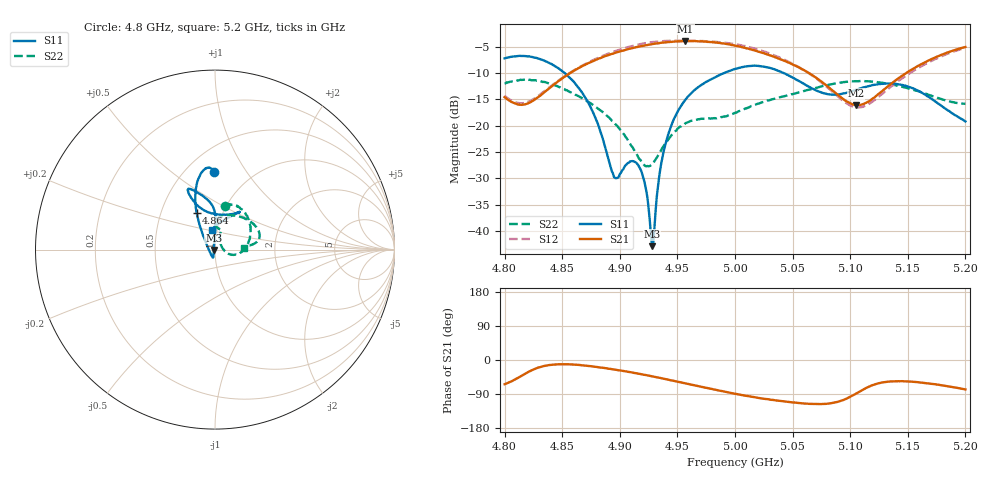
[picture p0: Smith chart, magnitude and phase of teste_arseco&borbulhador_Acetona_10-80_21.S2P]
! Network Analyzer HP8722D
! Hewlett-Packard
! Data name: Linha & Wilkinson
! Saver's name: Rodrigo Anjos
! Comments: Teste da utilização de aquisição
! continua pelo VNA HP8722D
! Time and date: 25/4/2025 15:26
!  Frequency  S11  S21  S12  S22
# HZ  S  MA R 50
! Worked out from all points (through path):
!   401 points, 4.8 GHz to 5.2 GHz, reference 50 ohm
!   highest |S21| = -3.95 dB at 4.957 GHz (marker M1); lowest = -16.1 dB at 5.105 GHz (marker M2)
!   lowest |S11| = -42.9 dB at 4.928 GHz (marker M3), VSWR 1.01, Z = 49.3 - j0.184 ohm
!   |S11| at or under -10 dB: 4.852 GHz to 4.991 GHz (139 MHz wide, 2.82 % of centre); 5.042 GHz to end of sweep
!   |S22| runs from -27.7 to -11.3 dB; largest |S21 - S12| = 1.2
!   S11 on the Smith chart (normalised r, x): 4.8 GHz: 0.68, +0.73; 4.864 GHz: 0.75, +0.33; 5.2 GHz: 0.94, +0.21
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4.8e9  0.4339 90.5  0.1862 -63.9  0.1911 69.7  0.2509 77.4
4.82e9  0.4527 96.8  0.1617 -32.5  0.1675 98.4  0.2726 61.6
4.843e9  0.371 106.1  0.246 -12.0  0.2497 118.8  0.2422 37.0
4.864e9  0.23 116.4  0.3504 -12.9  0.3533 120.9  0.1903 11.9
4.867e9  0.2077 118.0  0.364 -13.9  0.3677 120.6  0.1831 8.5
4.88e9  0.1102 128.6  0.4236 -18.4  0.4335 118.2  0.148 -5.5
4.895e9  0.03241 -172.1  0.4858 -24.9  0.503 113.7  0.1073 -16.1
4.909e9  0.04579 -106.2  0.5375 -32.1  0.5623 107.5  0.06705 -14.9
4.917e9  0.0402 -102.4  0.5627 -36.4  0.5894 103.5  0.04808 -1.7
4.922e9  0.0272 -105.3  0.5764 -39.3  0.604 100.6  0.04136 15.1
4.928e9  0.007177 -165.0  0.5924 -43.1  0.6184 97.0  0.04279 41.6
4.93e9  0.01045 124.4  0.5974 -44.4  0.6205 95.7  0.04584 47.9
4.934e9  0.03173 98.4  0.6045 -46.8  0.6295 93.3  0.05423 58.5
4.943e9  0.08889 90.3  0.6201 -52.6  0.6377 87.4  0.07627 69.1
4.957e9  0.1764 89.1  0.6346 -61.7  0.6412 78.6  0.1051 71.8
5e9  0.3446 108.9  0.5739 -89.2  0.5932 50.8  0.132 88.6
5.029e9  0.3548 115.0  0.4698 -103.8  0.4881 34.2  0.1733 85.7
5.067e9  0.2246 105.1  0.3012 -116.0  0.2987 23.5  0.2227 57.2
5.105e9  0.2182 64.9  0.1563 -88.8  0.1489 54.4  0.2639 25.6
5.134e9  0.2502 56.9  0.2416 -56.8  0.227 88.6  0.2475 12.3
5.168e9  0.1874 68.8  0.4143 -61.9  0.3975 85.1  0.1957 7.0
5.2e9  0.1095 100.1  0.5563 -77.7  0.546 70.1  0.1609 3.9
